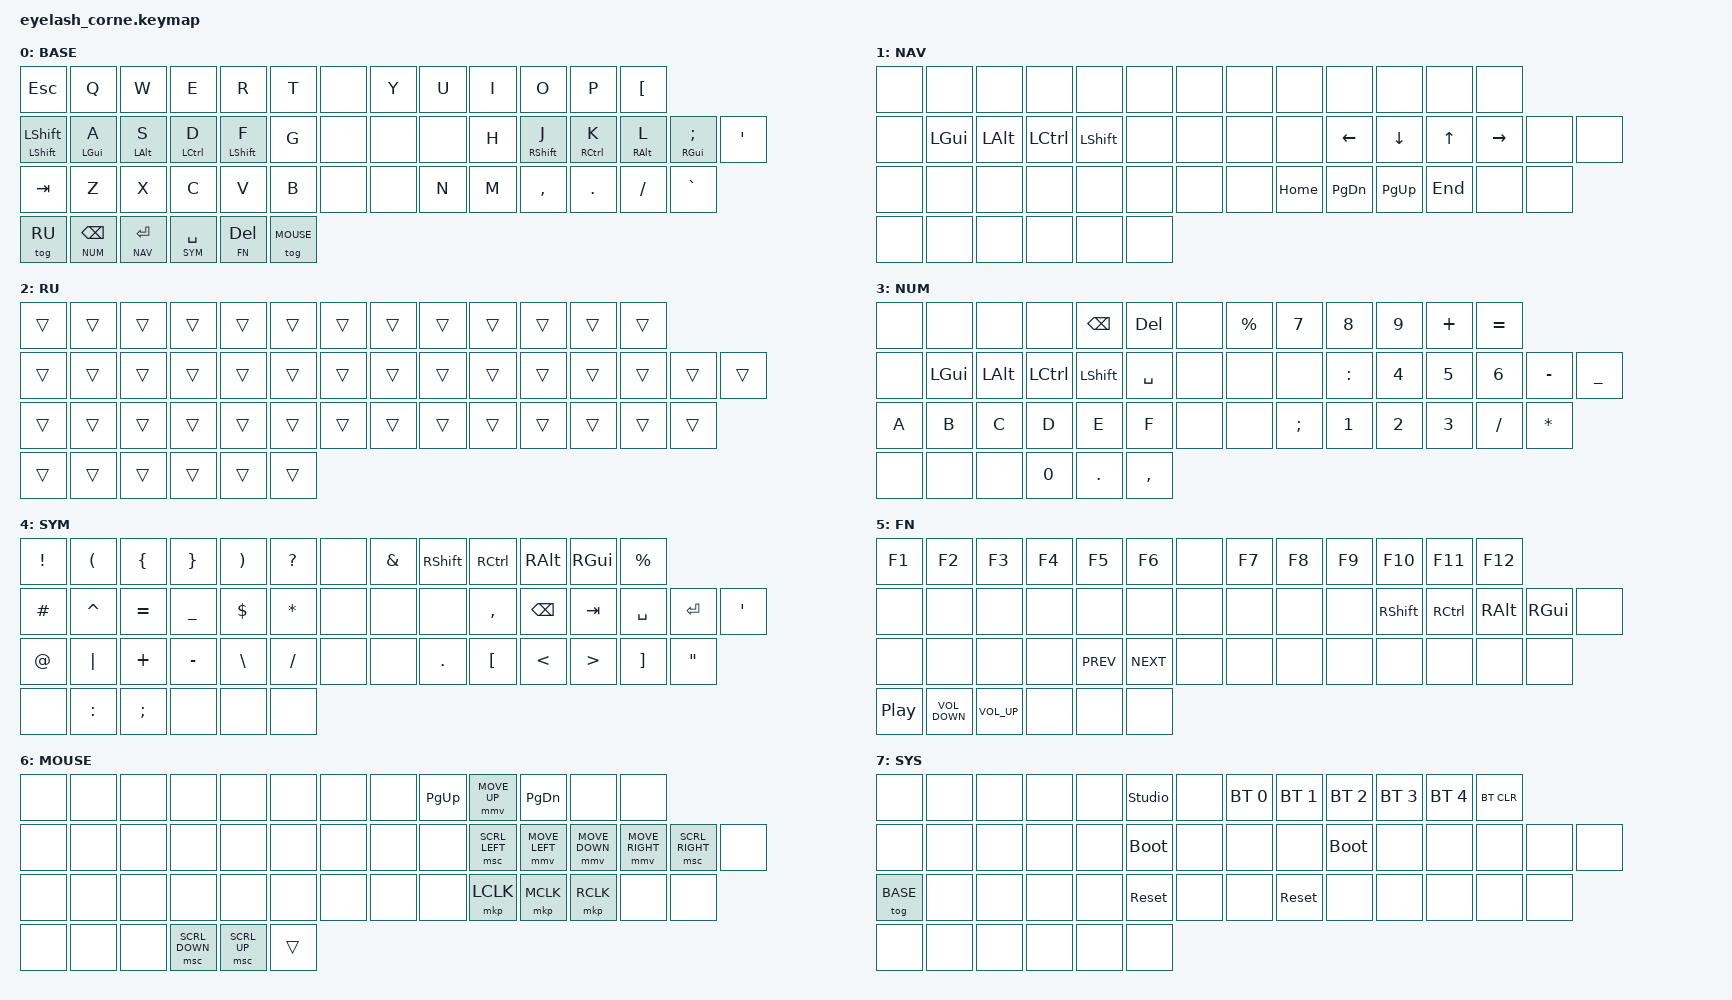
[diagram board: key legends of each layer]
#include <behaviors.dtsi>
#include <dt-bindings/zmk/bt.h>
#include <dt-bindings/zmk/keys.h>
#include <dt-bindings/zmk/pointing.h>

//
// Layers
#define BASE     0
#define NAV      1
#define RU       2
#define NUM      3
#define SYM      4
#define FN       5
#define MOUSE    6
#define SYS      7
#define ALL      0 1 2 3 4 5 6 7

// Variables
#define ___       &trans
#define XXX       &none
#define OOO       &none // key that activates this layer
#define KEYS_L    0 1 2 3 4 5 13 14 15 16 17 18 28 29 30 31 32 33
#define KEYS_R    7 8 9 10 11 12 22 23 24 25 26 27 36 37 38 39 40 41
#define THUMBS    42 43 44 45 46 47

// Behavior Settings
&caps_word {
  continue-list = <UNDERSCORE MINUS BACKSPACE>;
};

&sl {
  release-after-ms = <5000>;
  ignore-modifiers;
};

// Custom behavior
#define MO_SL(layer) &mo_sl layer layer   // Macro to apply momentary-layer-on-hold/sticky-layer-on-tap to a specific layer
#define SSHFT &kp_sk LSHFT LSHFT

/ {
    combos {
        compatible = "zmk,combos";

        #define ZMK_COMBO(NAME, BINDINGS, KEYPOS, LAYERS) \
          combo_##NAME { \
            timeout-ms = <75>; \
            bindings = <BINDINGS>; \
            key-positions = <KEYPOS>; \
            layers = <LAYERS>; \
          };

/*                                          42 KEY MATRIX ORIGINAL                                             */
/*  ╭────────────────────────┬────────────────────────╮ ╭─────────────────────────┬─────────────────────────╮  */
/*  │  0   1   2   3   4   5 │  6   7   8   9  10  11 │ │ LT5 LT4 LT3 LT2 LT1 LT0 │ RT0 RT1 RT2 RT3 RT4 RT5 │  */
/*  │ 12  13  14  15  16  17 │ 18  19  20  21  22  23 │ │ LM5 LM4 LM3 LM2 LM1 LM0 │ RM0 RM1 RM2 RM3 RM4 RM5 │  */
/*  │ 24  25  26  27  28  29 │ 30  31  32  33  34  35 │ │ LB5 LB4 LB3 LB2 LB1 LB0 │ RB0 RB1 RB2 RB3 RB4 RB5 │  */
/*  ╰───────────╮ 36  37  38 │ 39  40  41 ╭───────────╯ ╰───────────╮ LH2 LH1 LH0 │ RH0 RH1 RH2 ╭───────────╯  */
/*              ╰────────────┴────────────╯                         ╰─────────────┴─────────────╯              */

/*                                                  EYELASH                                                    */
/*  ╭────────────────────────┬────────────────────────╮ ╭─────────────────────────┬─────────────────────────╮  */
/*  │  0   1   2   3   4   5 │  7   8   9  10  11  12 │ │ LT5 LT4 LT3 LT2 LT1 LT0 │ RT0 RT1 RT2 RT3 RT4 RT5 │  */
/*  │ 13  14  15  16  17  18 │ 22  23  24  25  26  27 │ │ LM5 LM4 LM3 LM2 LM1 LM0 │ RM0 RM1 RM2 RM3 RM4 RM5 │  */
/*  │ 28  29  30  31  32  33 │ 36  37  38  39  40  41 │ │ LB5 LB4 LB3 LB2 LB1 LB0 │ RB0 RB1 RB2 RB3 RB4 RB5 │  */
/*  ╰───────────╮ 42  43  44 │ 45  46  47 ╭───────────╯ ╰───────────╮ LH2 LH1 LH0 │ RH0 RH1 RH2 ╭───────────╯  */
/*              ╰────────────┴────────────╯                         ╰─────────────┴─────────────╯              */
        ZMK_COMBO(syslayer,   &sl SYS,              28 41, ALL)
        ZMK_COMBO(caps_word,  &caps_word,           13 27, BASE RU)
        ZMK_COMBO(lang,       &kp LG(SPACE),        17 23, BASE RU)
        ZMK_COMBO(copy,       &kp RC(INS),          30 31, BASE RU MOUSE)
        ZMK_COMBO(paste,      &kp RS(INS),          31 32, BASE RU MOUSE)
        ZMK_COMBO(cut,        &kp RC(X),            30 32, BASE RU MOUSE)
        /* ZMK_COMBO(del,        &kp DEL,      9 10,  BASE RU) */
        /* ZMK_COMBO(bspc,       &kp BSPC,     8 9,   BASE RU) */
        /* ZMK_COMBO(tab,        &kp TAB,      2 3,   BASE RU) */
        /* ZMK_COMBO(esc,        &kp ESC,      3 4,   BASE RU) */
    };

    behaviors {
        hrmr: hrmr {
            compatible = "zmk,behavior-hold-tap";
            bindings = <&kp>, <&kp>;
            #binding-cells = <2>;
            tapping-term-ms = <300>;
            quick-tap-ms = <175>;
            flavor = "tap-preferred";
            hold-trigger-key-positions = <KEYS_L THUMBS>;
            hold-trigger-on-release;
        };

        hrml: hrml {
            compatible = "zmk,behavior-hold-tap";
            bindings = <&kp>, <&kp>;
            #binding-cells = <2>;
            tapping-term-ms = <300>;
            quick-tap-ms = <175>;
            flavor = "tap-preferred";
            hold-trigger-key-positions = <KEYS_R THUMBS>;
            hold-trigger-on-release;
        };

        kp_sk: behavior_kp_sk {
            compatible = "zmk,behavior-hold-tap";
            #binding-cells = <2>;
            flavor = "hold-preferred";
            tapping-term-ms = <120>;
            bindings = <&kp>, <&sk>;
        };

        mo_sl: behavior_mo_sl {
            compatible = "zmk,behavior-hold-tap";
            #binding-cells = <2>;
            flavor = "hold-preferred";
            tapping-term-ms = <200>;
            bindings = <&mo>, <&sl>;
        };
    };

    keymap {
        compatible = "zmk,keymap";
        base_layer {
          bindings = <
// ╭──────────┬─────────────┬───────────────────┬───────────────────┬───────────────────┬───────────────────╮ ╭───────────────────┬───────────────────┬───────────────────┬─────────────────┬───────────────┬──────────╮
     &kp ESC      &kp Q            &kp W                &kp E              &kp R            &kp T           XXX      &kp Y               &kp U               &kp I               &kp O             &kp P      &kp LBKT
// ├──────────┼─────────────┼───────────────────┼───────────────────┼───────────────────┼───────────────────┤ ├───────────────────┼───────────────────┼───────────────────┼─────────────────┼───────────────┼──────────┤
      SSHFT     &hrml LGUI A   &hrml LALT S        &hrml LCTRL D        &hrml LSHFT F       &kp G       XXX XXX XXX  &kp H            &hrmr RSHFT J       &hrmr RCTRL K      &hrmr RALT L    &hrmr RGUI SEMI  &kp SQT
// ├──────────┼─────────────┼───────────────────┼───────────────────┼───────────────────┼───────────────────┤ ├───────────────────┼───────────────────┼───────────────────┼─────────────────┼───────────────┼──────────┤
     &kp TAB      &kp Z             &kp X               &kp C               &kp V           &kp B         XXX XXX    &kp N               &kp M               &kp COMMA          &kp DOT          &kp FSLH     &kp GRAVE
// ╰────────────────────────────────────────────────────────────────┼───────────────────┼───────────────────┤ ├───────────────────┼───────────────────┼────────────────────────────────────────────────────────────────╯
                                                       &tog RU          &lt NUM BSPC       &lt NAV ENTER          &lt SYM SPACE        &lt FN DEL        &tog MOUSE
//                                              ╰───────────────────┴───────────────────┴───────────────────╯ ╰───────────────────┴───────────────────┴───────────────────╯
          >;
          display-name = "BASE";
        };
        nav_layer {
          bindings = <
// ╭────┬───────────────────┬───────────────────┬───────────────────┬───────────────────┬───────────────────╮ ╭───────────────────┬───────────────────┬───────────────────┬───────────────────┬───────────────────┬────╮
    XXX           XXX                 XXX                XXX                 XXX                XXX         XXX       XXX                 XXX                  XXX                  XXX                XXX          XXX
// ├────┼───────────────────┼───────────────────┼───────────────────┼───────────────────┼───────────────────┤ ├───────────────────┼───────────────────┼───────────────────┼───────────────────┼───────────────────┼────┤
    XXX      &kp LGUI             &kp LALT            &kp LCTRL           &kp LSHFT             XXX     XXX XXX XXX  &kp LEFT            &kp DOWN            &kp UP             &kp RIGHT              XXX          XXX
// ├────┼───────────────────┼───────────────────┼───────────────────┼───────────────────┼───────────────────┤ ├───────────────────┼───────────────────┼───────────────────┼───────────────────┼───────────────────┼────┤
    XXX           XXX                 XXX                XXX                 XXX                XXX       XXX XXX    &kp HOME            &kp PG_DN          &kp PG_UP            &kp END               XXX          XXX
// ╰────────────────────────────────────────────────────────────────┼───────────────────┼───────────────────┤ ├───────────────────┼───────────────────┼────────────────────────────────────────────────────────────────╯
                                                         XXX                 OOO                XXX                   XXX                 XXX                  XXX
//                                              ╰───────────────────┴───────────────────┴───────────────────╯ ╰───────────────────┴───────────────────┴───────────────────╯
          >;
          display-name = "NAV";
        };
        ru_layer {
          bindings = <
// ╭────┬───────────────────┬───────────────────┬───────────────────┬───────────────────┬───────────────────╮ ╭───────────────────┬───────────────────┬───────────────────┬───────────────────┬───────────────────┬────╮
     //XXX         &ru_y              &ru_ts              &ru_u               &ru_k               &ru_e                 &ru_n               &ru_g              &ru_sh              &ru_shch              &ru_z        XXX
___ ___ ___ ___ ___ ___ ___ ___ ___ ___ ___ ___ ___
// ├────┼───────────────────┼───────────────────┼───────────────────┼───────────────────┼───────────────────┤ ├───────────────────┼───────────────────┼───────────────────┼───────────────────┼───────────────────┼────┤
     //XXX    &hrml LGUI ru_f    &hrml LALT ru_yi    &hrmlm LCTRL ru_v   &hrmlf LSHFT ru_a         &ru_p                 &ru_r         &hrmrf RSHFT ru_o   &hrmrm RCTRL ru_l    &hrmr RALT ru_d    &hrmr RGUI ru_zh    XXX
___ ___ ___ ___ ___ ___ ___ ___ ___ ___ ___ ___ ___ ___ ___
// ├────┼───────────────────┼───────────────────┼───────────────────┼───────────────────┼───────────────────┤ ├───────────────────┼───────────────────┼───────────────────┼───────────────────┼───────────────────┼────┤
     //XXX         &ru_ya              &ru_ch              &ru_s               &ru_m               &ru_i                 &ru_t              &ru_soft             &ru_b               &ru_yu              &ru_ye        XXX
___ ___ ___ ___ ___ ___ ___ ___ ___ ___ ___ ___ ___ ___
// ╰────────────────────────────────────────────────────────────────┼───────────────────┼───────────────────┤ ├───────────────────┼───────────────────┼────────────────────────────────────────────────────────────────╯
     //                                                 &tog RU          &lt NAV BSPC         &lt NUM DEL          &lt FN ENTER        &lt SYS SPACE        &tog MOUSE
___ ___ ___ ___ ___ ___
//                                              ╰───────────────────┴───────────────────┴───────────────────╯ ╰───────────────────┴───────────────────┴───────────────────╯
          >;
          display-name = "RU";
        };
        num_layer {
          bindings = <
// ╭───────┬────────────────┬───────────────────┬───────────────────┬───────────────────┬───────────────────╮ ╭───────────────────┬───────────────────┬───────────────────┬───────────────────┬──────────────┬─────────╮
     XXX           XXX               XXX                 XXX               &kp BSPC           &kp DEL       XXX     &kp PRCNT             &kp N7             &kp N8              &kp N9          &kp PLUS     &kp EQUAL
// ├───────┼────────────────┼───────────────────┼───────────────────┼───────────────────┼───────────────────┤ ├───────────────────┼───────────────────┼───────────────────┼───────────────────┼──────────────┼─────────┤
     XXX        &kp LGUI             &kp LALT            &kp LCTRL         &kp LSHFT         &kp SPACE  XXX XXX XXX &kp COLON             &kp N4             &kp N5              &kp N6          &kp MINUS    &kp UNDER
// ├───────┼────────────────┼───────────────────┼───────────────────┼───────────────────┼───────────────────┤ ├───────────────────┼───────────────────┼───────────────────┼───────────────────┼──────────────┼─────────┤
     &kp A       &kp B               &kp C               &kp D               &kp E              &kp F     XXX XXX   &kp SEMI              &kp N1             &kp N2              &kp N3          &kp FSLH     &kp STAR
// ╰────────────────────────────────────────────────────────────────┼───────────────────┼───────────────────┤ ├───────────────────┼───────────────────┼────────────────────────────────────────────────────────────────╯
                                                         XXX                 XXX                OOO                 &kp N0                &kp DOT            &kp COMMA
//                                              ╰───────────────────┴───────────────────┴───────────────────╯ ╰───────────────────┴───────────────────┴───────────────────╯
          >;
          display-name = "NUM";
        };
        sym_layer {
          bindings = <
// ╭─────────┬──────────────┬───────────────────┬───────────────────┬───────────────────┬───────────────────╮ ╭───────────────────┬───────────────────┬───────────────────┬───────────────────┬─────────────┬──────────╮
    &kp EXCL   &kp LPAR           &kp LBRC            &kp RBRC             &kp RPAR         &kp QMARK       XXX    &kp AMPS            &kp RSHFT            &kp RCTRL            &kp RALT       &kp RGUI      &kp PRCNT
// ├─────────┼──────────────┼───────────────────┼───────────────────┼───────────────────┼───────────────────┤ ├───────────────────┼───────────────────┼───────────────────┼───────────────────┼─────────────┼──────────┤
    &kp POUND  &kp CARET          &kp EQUAL           &kp UNDER            &kp DLLR         &kp STAR   XXX XXX XXX &kp COMMA           &kp BSPC             &kp TAB              &kp SPACE      &kp RET       &kp SQT
// ├─────────┼──────────────┼───────────────────┼───────────────────┼───────────────────┼───────────────────┤ ├───────────────────┼───────────────────┼───────────────────┼───────────────────┼─────────────┼──────────┤
    &kp AT     &kp PIPE           &kp PLUS            &kp MINUS            &kp BSLH         &kp FSLH      XXX XXX  &kp DOT             &kp LBKT             &kp LT               &kp GT         &kp RBKT      &kp DQT
// ╰────────────────────────────────────────────────────────────────┼───────────────────┼───────────────────┤ ├───────────────────┼───────────────────┼────────────────────────────────────────────────────────────────╯
                                                          XXX              &kp COLON        &kp SEMI                   XXX                OOO                  XXX
//                                              ╰───────────────────┴───────────────────┴───────────────────╯ ╰───────────────────┴───────────────────┴───────────────────╯
          >;
          display-name = "SYM";
        };
        fn_layer {
          bindings = <
// ╭──────┬─────────────────┬───────────────────┬───────────────────┬───────────────────┬───────────────────╮ ╭───────────────────┬───────────────────┬───────────────────┬───────────────────┬────────────────┬───────╮
    &kp F1      &kp F2             &kp F3             &kp F4                &kp F5            &kp F6        XXX       &kp F7            &kp F8                &kp F9              &kp F10           &kp F11     &kp F12
// ├──────┼─────────────────┼───────────────────┼───────────────────┼───────────────────┼───────────────────┤ ├───────────────────┼───────────────────┼───────────────────┼───────────────────┼────────────────┼───────┤
     XXX        XXX                XXX                  XXX                   XXX               XXX     XXX XXX XXX    XXX              &kp RSHFT           &kp RCTRL             &kp RALT          &kp RGUI      XXX
// ├──────┼─────────────────┼───────────────────┼───────────────────┼───────────────────┼───────────────────┤ ├───────────────────┼───────────────────┼───────────────────┼───────────────────┼────────────────┼───────┤
     XXX        XXX                XXX                  XXX               &kp C_PREV        &kp C_NEXT    XXX XXX      XXX                XXX                  XXX                 XXX               XXX          XXX
// ╰────────────────────────────────────────────────────────────────┼───────────────────┼───────────────────┤ ├───────────────────┼───────────────────┼────────────────────────────────────────────────────────────────╯
                                                  &kp C_PLAY_PAUSE    &kp C_VOLUME_DOWN   &kp C_VOLUME_UP              OOO                XXX                  XXX
//                                              ╰───────────────────┴───────────────────┴───────────────────╯ ╰───────────────────┴───────────────────┴───────────────────╯
          >;
          display-name = "FN";
        };
        mouse_layer {
          bindings = <
// ╭────┬───────────────────┬───────────────────┬───────────────────┬───────────────────┬───────────────────╮ ╭───────────────────┬───────────────────┬───────────────────┬───────────────────┬────────────────┬───────╮
    XXX          XXX                XXX                  XXX                 XXX                 XXX        XXX       XXX               &kp PG_UP          &mmv MOVE_UP       &kp PG_DN              XXX          XXX
// ├────┼───────────────────┼───────────────────┼───────────────────┼───────────────────┼───────────────────┤ ├───────────────────┼───────────────────┼───────────────────┼───────────────────┼────────────────┼───────┤
    XXX          XXX                XXX                  XXX                 XXX                 XXX   XXX XXX XXX &msc SCRL_LEFT       &mmv MOVE_LEFT       &mmv MOVE_DOWN     &mmv MOVE_RIGHT   &msc SCRL_RIGHT   XXX
// ├────┼───────────────────┼───────────────────┼───────────────────┼───────────────────┼───────────────────┤ ├───────────────────┼───────────────────┼───────────────────┼───────────────────┼────────────────┼───────┤
    XXX          XXX                XXX                  XXX                 XXX                 XXX      XXX XXX     XXX               &mkp LCLK          &mkp MCLK          &mkp RCLK              XXX          XXX
// ╰────────────────────────────────────────────────────────────────┼───────────────────┼───────────────────┤ ├───────────────────┼───────────────────┼────────────────────────────────────────────────────────────────╯
                                                         XXX                 XXX                 XXX             &msc SCRL_DOWN       &msc SCRL_UP             ___
//                                              ╰───────────────────┴───────────────────┴───────────────────╯ ╰───────────────────┴───────────────────┴───────────────────╯
          >;
          display-name = "MOUSE";
        };
        sys_layer {
          bindings = <
// ╭──────────┬─────────────┬───────────────────┬───────────────────┬───────────────────┬───────────────────╮ ╭───────────────────┬───────────────────┬───────────────────┬───────────────────┬─────────────┬──────────╮
     XXX           XXX             XXX                  XXX                 XXX            &studio_unlock   XXX   &bt BT_SEL 0         &bt BT_SEL 1         &bt BT_SEL 2        &bt BT_SEL 3    &bt BT_SEL 4  &bt BT_CLR
// ├──────────┼─────────────┼───────────────────┼───────────────────┼───────────────────┼───────────────────┤ ├───────────────────┼───────────────────┼───────────────────┼───────────────────┼─────────────┼──────────┤
     XXX           XXX             XXX                  XXX                 XXX            &bootloader  XXX XXX XXX &bootloader            XXX                   XXX                XXX              XXX         XXX
// ├──────────┼─────────────┼───────────────────┼───────────────────┼───────────────────┼───────────────────┤ ├───────────────────┼───────────────────┼───────────────────┼───────────────────┼─────────────┼──────────┤
    &tog BASE      XXX             XXX                  XXX                 XXX            &sys_reset     XXX XXX    &sys_reset            XXX                   XXX                XXX              XXX         XXX
// ╰────────────────────────────────────────────────────────────────┼───────────────────┼───────────────────┤ ├───────────────────┼───────────────────┼────────────────────────────────────────────────────────────────╯
                                                         XXX                 XXX                 XXX                   XXX                XXX                   XXX
//                                              ╰───────────────────┴───────────────────┴───────────────────╯ ╰───────────────────┴───────────────────┴───────────────────╯
          >;
          display-name = "SYS";
        };
    };
};
